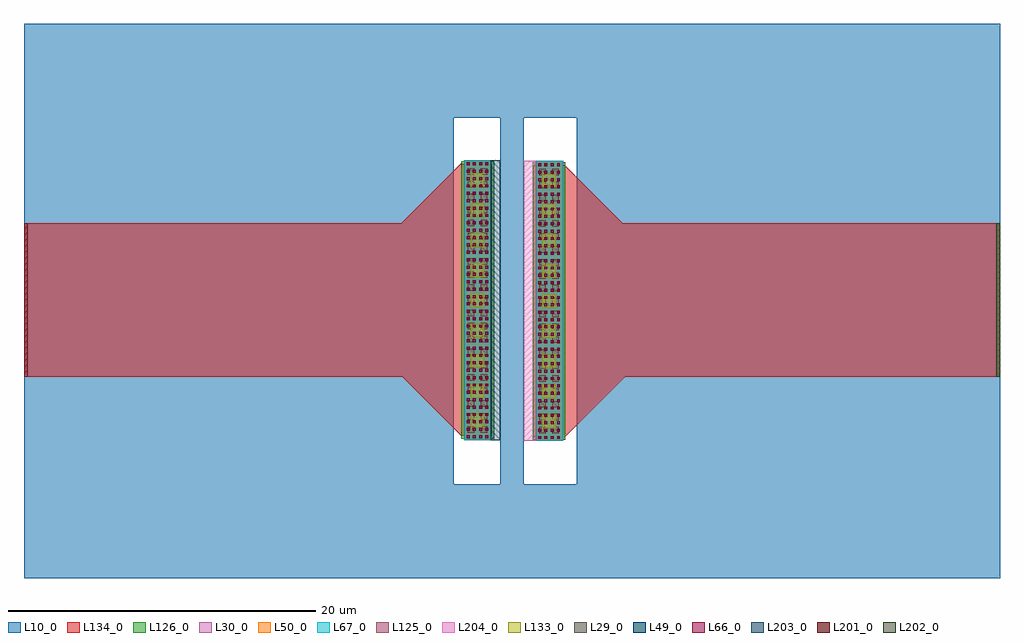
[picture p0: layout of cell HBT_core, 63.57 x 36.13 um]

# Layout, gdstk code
import gdstk
lib = gdstk.Library(unit=1e-6, precision=1e-09)
def R(c, l, rs):  # rectangles x0, y0, x1, y1
    for r in rs: c.add(gdstk.rectangle(r[:2], r[2:], *l))
def P(c, l, *ps):  # polygons
    for p in ps: c.add(gdstk.Polygon(p, *l))
L10_0 = (10, 0)
L29_0 = (29, 0)
L30_0 = (30, 0)
L49_0 = (49, 0)
L50_0 = (50, 0)
L66_0 = (66, 0)
L67_0 = (67, 0)
L125_0 = (125, 0)
L126_0 = (126, 0)
L133_0 = (133, 0)
L134_0 = (134, 0)
L201_0 = (201, 0)
L202_0 = (202, 0)
L203_0 = (203, 0)
L204_0 = (204, 0)

via1_4_single_1 = lib.new_cell('via1-4_single$1')
R(via1_4_single_1, L29_0, [(-0.095,-0.095,0.095,0.095)])
R(via1_4_single_1, L49_0, [(-0.095,-0.095,0.095,0.095)])
R(via1_4_single_1, L66_0, [(-0.095,-0.095,0.095,0.095)])

viatop1_single_1 = lib.new_cell('viaTop1_single$1')
R(viatop1_single_1, L125_0, [(-0.21,-0.21,0.21,0.21)])

viatop2_single_1 = lib.new_cell('viaTop2_single$1')
R(viatop2_single_1, L133_0, [(-0.45,-0.45,0.45,0.45)])

hbt_core = lib.new_cell('HBT_core')
R(hbt_core, L10_0, [(60,-10.125,91.005,-4), (91.005,-10.125,92.56,26.005), (92.56,-10.125,123.565,-4), (60,-4,88,19.88), (96,-4,123.565,19.88), (93.37,-1.165,95.115,17.085), (88.66,-1.145,90.405,17.105), (60,19.88,91.005,26.005), (92.56,19.88,123.565,26.005)])
R(hbt_core, L30_0, [(93.37,-1.165,95.115,17.085), (88.66,-1.145,90.405,17.105)])
R(hbt_core, L50_0, [(93.37,-1.17,95.115,17.08), (88.66,-1.145,90.405,17.105)])
R(hbt_core, L67_0, [(93.37,-1.175,95.115,17.075), (88.66,-1.145,90.405,17.105)])
R(hbt_core, L126_0, [(93.145,-1.11,95.26,16.965), (88.465,-1.045,90.615,17.035)])
R(hbt_core, L134_0, [(60,3,85.015,13), (98.005,3,123.565,13)])
P(hbt_core, L134_0, [(88.465,-0.82),(79.89,7.755),(79.61,8.035),(88.46,16.885),(90.5,16.885),(90.5,-0.82)],
  [(93.175,-0.935),(93.175,16.77),(95.215,16.77),(104.065,7.92),(103.785,7.64),(95.21,-0.935)])
R(hbt_core, L201_0, [(60,3,60.25,13)])
R(hbt_core, L202_0, [(123.315,3,123.565,13)])
R(hbt_core, L203_0, [(90.405,-1.145,91.005,17.105)])
R(hbt_core, L204_0, [(92.56,-1.165,93.37,17.085)])
r = gdstk.Reference(via1_4_single_1, (88.92,-0.89)); r.repetition = gdstk.Repetition(4, 38, v1=(0.41,0), v2=(0,0.48)); hbt_core.add(r)
r = gdstk.Reference(viatop1_single_1, (89.11,-0.415)); r.repetition = gdstk.Repetition(2, 21, v1=(0.84,0), v2=(0,0.84)); hbt_core.add(r)
r = gdstk.Reference(viatop2_single_1, (89.54,0.14)); r.repetition = gdstk.Repetition(1, 9, v1=(0,0), v2=(0,1.96)); hbt_core.add(r)
r = gdstk.Reference(via1_4_single_1, (93.58,-0.95)); r.repetition = gdstk.Repetition(4, 38, v1=(0.41,0), v2=(0,0.48)); hbt_core.add(r)
r = gdstk.Reference(viatop1_single_1, (93.775,-0.465)); r.repetition = gdstk.Repetition(2, 21, v1=(0.84,0), v2=(0,0.84)); hbt_core.add(r)
r = gdstk.Reference(viatop2_single_1, (94.19,0.105)); r.repetition = gdstk.Repetition(1, 9, v1=(0,0), v2=(0,1.96)); hbt_core.add(r)

lib.write_gds('HBT_core.gds')
